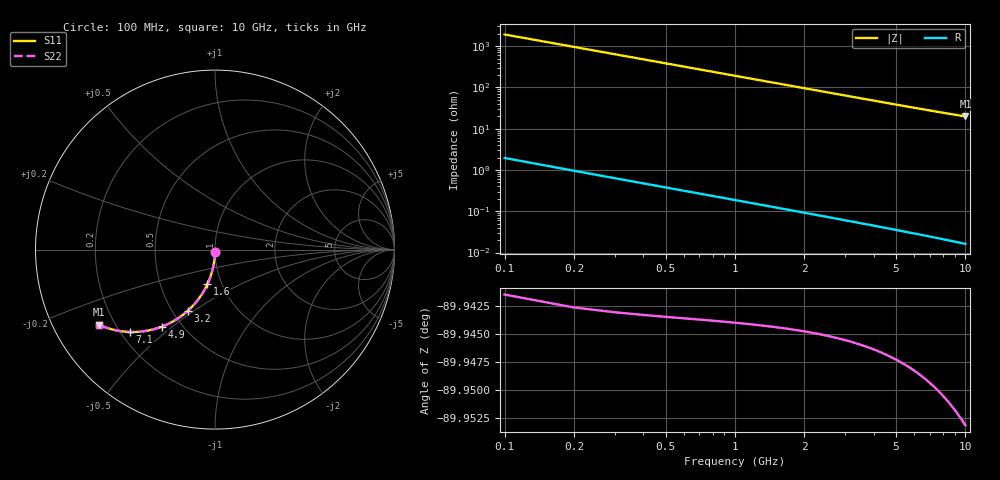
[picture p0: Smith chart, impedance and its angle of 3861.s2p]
# Hz S RI R 50.00
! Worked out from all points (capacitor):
!   100 points, 100 MHz to 10 GHz, reference 50 ohm
!   read as one part in shunt: C = 833 fF near 100 MHz
!   lowest |Z| = 19.8 ohm at 10 GHz (marker M1)
!   S11 on the Smith chart (normalised r, x): 100 MHz: 1.00, -0.03; 1.6 GHz: 0.86, -0.34; 3.2 GHz: 0.60, -0.47; 4.9 GHz: 0.39, -0.46; 7.1 GHz: 0.24, -0.38; 10 GHz: 0.14, -0.29
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1e8  -7.28e-05 -0.0125  0.9997 -0.0136  0.9997 -0.0136  -7.28e-05 -0.0125
2e8  -0.000597 -0.0251  0.9992 -0.0272  0.9992 -0.0272  -0.000597 -0.0251
3e8  -0.00146 -0.0376  0.9983 -0.0408  0.9983 -0.0408  -0.00146 -0.0376
4e8  -0.00267 -0.05  0.9971 -0.0544  0.9971 -0.0544  -0.00267 -0.05
5e8  -0.00421 -0.0624  0.9955 -0.0679  0.9955 -0.0679  -0.00421 -0.0624
6e8  -0.00608 -0.0748  0.9937 -0.0813  0.9937 -0.0813  -0.00608 -0.0748
7e8  -0.00829 -0.087  0.9915 -0.0947  0.9915 -0.0947  -0.00829 -0.087
9e8  -0.0137 -0.1113  0.986 -0.1212  0.986 -0.1212  -0.0137 -0.1113
1.2e9  -0.0241 -0.1469  0.9756 -0.16  0.9756 -0.16  -0.0241 -0.1469
1.6e9  -0.0422 -0.1922  0.9574 -0.2097  0.9574 -0.2097  -0.0422 -0.1922
1.8e9  -0.0529 -0.2138  0.9467 -0.2336  0.9467 -0.2336  -0.0529 -0.2138
2.4e9  -0.0905 -0.2737  0.9089 -0.3001  0.9089 -0.3001  -0.0905 -0.2737
3.2e9  -0.151 -0.3403  0.8481 -0.3756  0.8481 -0.3756  -0.151 -0.3403
3.4e9  -0.1674 -0.3544  0.8317 -0.392  0.8317 -0.392  -0.1674 -0.3544
4.1e9  -0.2271 -0.3961  0.7717 -0.4416  0.7717 -0.4416  -0.2271 -0.3961
4.9e9  -0.2968 -0.4294  0.7014 -0.484  0.7014 -0.484  -0.2968 -0.4294
5.1e9  -0.3141 -0.4356  0.684 -0.4925  0.684 -0.4925  -0.3141 -0.4356
5.9e9  -0.3815 -0.4525  0.616 -0.5186  0.616 -0.5186  -0.3815 -0.4525
6.7e9  -0.4447 -0.4588  0.5522 -0.5343  0.5522 -0.5343  -0.4447 -0.4588
7.1e9  -0.4743 -0.4588  0.5222 -0.539  0.5222 -0.539  -0.4743 -0.4588
8.4e9  -0.5608 -0.4476  0.4343 -0.5434  0.4343 -0.5434  -0.5608 -0.4476
1e10  -0.6472 -0.4184  0.3458 -0.534  0.3458 -0.534  -0.6472 -0.4184
